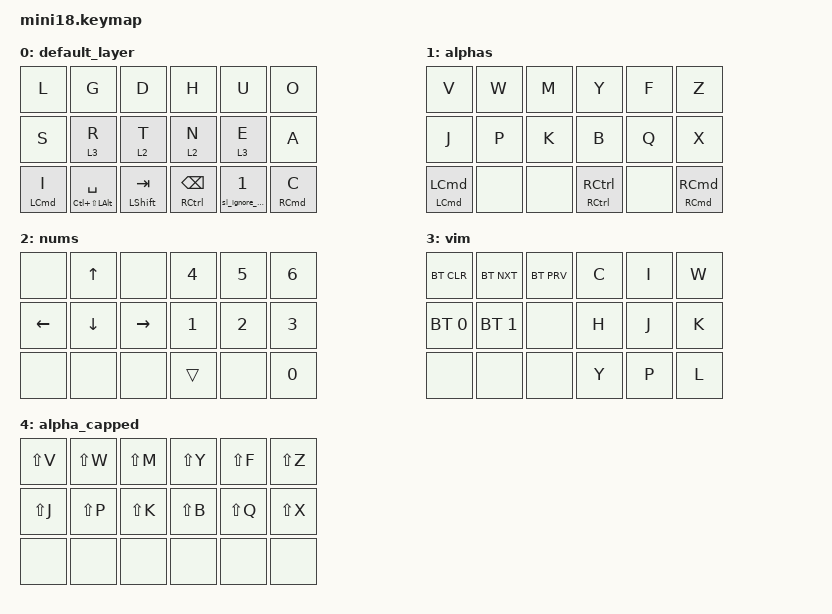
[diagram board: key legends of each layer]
//  _   _  ____   _____ _____
// | \ | |/ __ \ / ____/ ____|
// |  \| | |  | | |   | |
// | . ` | |  | | |   | |
// | |\  | |__| | |___| |____
// |_| \_|\____/ \_____\_____|

// Matrix: Key Numbers
//  0  1  2     3  4  5
//  6  7  8     9 10 11
// 12 13 14    15 16 17

//Layer O (Home): Alpha & Combo All Symbols
//Layer 1: Alpha
//Layer 2: Arrows & Numeric
//Layer 3: VIM

#include <behaviors.dtsi>
#include <dt-bindings/zmk/keys.h>
#include <dt-bindings/zmk/bt.h>
/ {
    behaviors {
        //Activates Layer 4
        //One shot sticky layer
        //Any key pressed (except mod keys (cmd, shift etc.)) will trigger home layer switch
        sl_caps: sl_caps {
            compatible = "zmk,behavior-sticky-key";
            #binding-cells = <1>;
            bindings = <&mo>;
            release-after-ms = <1000>;
            ignore-modifiers;
        };
        //Activates Layer 1
        //One shot sticky layer
        //Any key pressed (except mod keys (cmd, shift etc.)) will trigger home layer switch
        sl_ignore_mods: sticky_layer_ignore_mods {
            compatible = "zmk,behavior-sticky-key";
            #binding-cells = <1>;
            bindings = <&mo>;
            release-after-ms = <1000>;
            ignore-modifiers;
        };
        //Does not deactivate layer
        //When tapped, next key is Left Command + Key
        //If held Left Command Key
         lcmd_sticky_hold: lcmd_sticky_hold {
            compatible = "zmk,behavior-hold-tap";
            #binding-cells = <2>;
            tapping-term-ms = <200>;
            quick-tap-ms = <0>;
            flavor = "tap-preferred";
            bindings = <&kp>, <&sk>;
        };
        //Does not deactivate layer
        //When tapped, next key is Right Command + Key
        //If held Right Command Key
         rcmd_sticky_hold: rcmd_sticky_hold {
            compatible = "zmk,behavior-hold-tap";
            #binding-cells = <2>;
            tapping-term-ms = <200>;
            quick-tap-ms = <0>;
            flavor = "tap-preferred";
            bindings = <&kp>, <&sk>;
        };
        //Does not deactivate layer
        //When tapped, next key is Right Control + Key
        //If held Right Control Key
         rcntrl_sticky_hold: rcntrl_sticky_hold {
            compatible = "zmk,behavior-hold-tap";
            #binding-cells = <2>;
            tapping-term-ms = <200>;
            quick-tap-ms = <0>;
            flavor = "tap-preferred";
            bindings = <&kp>, <&sk>;
        };
    };
    combos {
        compatible = "zmk,combos";
// ********************************* //
// Function Combos                   //
// ********************************* //
    combo_caps_layer {
        timeout-ms = <50>;
        key-positions = <16 4>;
        bindings = <&sl_caps 4>;
        };
    //Next  Key on Layer 0 is Shifted
    //Initiated on Layer 0
    combo_layer_0_shift_next {
        timeout-ms = <50>;
        key-positions = <13 1>;
        bindings = <&sk LSHFT>;
        layers = <0>;
        };
   //Initiated on Layer 1
   //Output: Repeat Last Key
    combo_repeat_last_key {
        timeout-ms = <50>;
        key-positions = <16 17>;
        bindings = <&key_repeat>;
        };
   //Output: Enter
    combo_enter {
        timeout-ms = <50>;
        key-positions = <13 16>;
        bindings = <&kp ENTER>;
        layers = <0>;
        };
   //Output: Escape
    combo_esc {
        timeout-ms = <50>;
        key-positions = <4 5>;
        bindings = <&kp ESCAPE>;
        layers = <0>;
        };

// ********************************* //
// Core Symbols                      //
// ********************************* //

   //Output: "("
    combo_left_parenthesis {
        timeout-ms = <50>;
        key-positions = <8 9>;
        bindings = <&kp LPAR>;
        layers = <0>;
    };
   //Output: ")"
    combo_right_parenthesis {
        timeout-ms = <50>;
        key-positions = <2 3>;
        bindings = <&kp RPAR>;
        layers = <0>;
    };
   //Output: "{"
    combo_left_brace {
        timeout-ms = <50>;
        key-positions = <7 10>;
        bindings = <&kp LBRC>;
        layers = <0>;
    };
   //Output: "}"
    combo_right_brace {
        timeout-ms = <50>;
        key-positions = <1 4>;
        bindings = <&kp RBRC>;
        layers = <0>;
    };
   //Output: "["
    combo_left_bracket {
        timeout-ms = <50>;
        key-positions = <6 11>;
        bindings = <&kp LBKT>;
        layers = <0>;
    };
   //Output: "]"
    combo_right_bracket {
        timeout-ms = <50>;
        key-positions = <0 5>;
        bindings = <&kp RBKT>;
        layers = <0>;
    };
   //Output: "<"
    combo_less_than {
        timeout-ms = <50>;
        key-positions = <12 6>;
        bindings = <&kp LT>;
        layers = <0>;
    };
   //Output: ">"
    combo_greater_than {
        timeout-ms = <50>;
        key-positions = <11 17>;
        bindings = <&kp GT>;
        layers = <0>;
    };
   //Output: ","
    combo_comma {
        timeout-ms = <50>;
        key-positions = <3 5>;
        bindings = <&kp COMMA>;
        layers = <0>;
        };
   //Output: ":"
    combo_colon {
        timeout-ms = <50>;
        key-positions = <3 4>;
        bindings = <&kp COLON>;
        layers = <0>;
        };
   //Output: ";"
    combo_semi_colon {
        timeout-ms = <50>;
        key-positions = <9 10>;
        bindings = <&kp SEMICOLON>;
        layers = <0>;
        };
   //Output: "."
    combo_period {
        timeout-ms = <50>;
        key-positions = <10 11>;
        bindings = <&kp DOT>;
        layers = <0>;
        };
   //Output: "/"
    combo_slash {
        timeout-ms = <50>;
        key-positions = <9 11>;
        bindings = <&kp FSLH>;
        layers = <0>;
        };
   //Output: "$"
    combo_dollar {
        timeout-ms = <50>;
        key-positions = <4 11>;
        bindings = <&kp DLLR>;
        layers = <0>;
    };
   //Output: "%"
    combo_percent {
        timeout-ms = <50>;
        key-positions = <4 9>;
        bindings = <&kp PRCNT>;
        layers = <0>;
    };
   //Output: " ' "
    combo_single_quote {
        timeout-ms = <50>;
        key-positions = <1 2>;
        bindings = <&kp APOS>;
        layers = <0>;
    };
   //Output: ' " '
    combo_double_quotes {
        timeout-ms = <50>;
        key-positions = <0 1>;
        bindings = <&kp DQT>;
        layers = <0>;
    };
   //Output: " ` "
    combo_grave {
        timeout-ms = <50>;
        key-positions = <0 2>;
        bindings = <&kp GRAVE>;
        layers = <0>;
    };
   //Output: "?"
    combo_question {
        timeout-ms = <50>;
        key-positions = <6 8>;
        bindings = <&kp QMARK>;
        layers = <0>;
    };
   //Output: "!"
    combo_exclamation {
        timeout-ms = <50>;
        key-positions = <6 7>;
        bindings = <&kp EXCL>;
        layers = <0>;
    };
   //Output: "#"
    combo_hash {
        timeout-ms = <50>;
        key-positions = <7 8>;
        bindings = <&kp HASH>;
        layers = <0>;
    };
   //Output: "|"
    combo_pipe {
        timeout-ms = <50>;
        key-positions = <1 6>;
        bindings = <&kp PIPE>;
        layers = <0>;
    };
   //Output: "&"
    combo_ampersand {
        timeout-ms = <50>;
        key-positions = <1 8>;
        bindings = <&kp AMPS>;
        layers = <0>;
    };

// ********************************* //
// Non-Core                          //
// ********************************* //

   //Output: "~"
    combo_tilde {
        timeout-ms = <50>;
        key-positions = <2 9>;
        bindings = <&kp TILDE>;
        layers = <0>;
    };
   //Output: "_"
    combo_underscore {
        timeout-ms = <50>;
        key-positions = <3 8>;
        bindings = <&kp UNDER>;
        layers = <0>;
    };
   //Output: "="
    combo_equal {
        timeout-ms = <50>;
        key-positions = <1 10>;
        bindings = <&kp EQUAL>;
        layers = <0>;
    };
   //Output: "+"
    combo_plus {
        timeout-ms = <50>;
        key-positions = <7 4>;
        bindings = <&kp PLUS>;
        layers = <0>;
    };
   //Output: "*"
    combo_asterisk {
        timeout-ms = <50>;
        key-positions = <11 0>;
        bindings = <&kp ASTRK>;
        layers = <0>;
    };
   //Output: "-"
    combo_minus {
        timeout-ms = <50>;
        key-positions = <6 5>;
        bindings = <&kp MINUS>;
        layers = <0>;
    };
   //Output: "@"
    combo_at {
        timeout-ms = <50>;
        key-positions = <9 5>;
        bindings = <&kp AT>;
        layers = <0>;
    };
   //Output: "\"
    combo_backslash {
        timeout-ms = <50>;
        key-positions = <3 11>;
        bindings = <&kp BSLH>;
        layers = <0>;
    };
   //Output: "^"
    combo_caret {
        timeout-ms = <50>;
        key-positions = <6 2>;
        bindings = <&kp CARET>;
        layers = <0>;
    };
   //Output: "7"
    combo_num_seven {
        timeout-ms = <50>;
        key-positions = <3 4>;
        bindings = <&kp N7>;
        layers = <2>;
        };
   //Output: "8"
    combo_num_eight {
        timeout-ms = <50>;
        key-positions = <4 5>;
        bindings = <&kp N8>;
        layers = <2>;
        };
   //Output: "9"
    combo_num_nine {
        timeout-ms = <50>;
        key-positions = <9 10>;
        bindings = <&kp N9>;
        layers = <2>;
        };
    };

    keymap {
        compatible = "zmk,keymap";
        default_layer { // L0
// ---------------------------------------------- //    // ---------------------------------------------- //
// |      L      |       G       |      D       | //    // |      H      |        U       |      O      | //
// ---------------------------------------------- //    // ---------------------------------------------- //
// |      S      |     R + L3    |    T + L2    | //    // |   N + L2    |     E + L3     |      A      | //
// ---------------------------------------------- //    // ---------------------------------------------- //
// |   I + CMD   |  SPACE + MEH  |  Tab + Shift | //    // | BCK + CNTRL |       L1       |   C + CMD   | //
// ---------------------------------------------- //    // ---------------------------------------------- //
            bindings = <
&kp L        &kp G                    &kp D              &kp H                &kp U               &kp O
&kp S        &lt 3 R                  &lt 2 T            &lt 2 N              &lt 3 E             &kp A
&mt LCMD I   &mt LC(LS(LALT)) SPACE   &mt LSHIFT TAB     &mt RCTRL BACKSPACE  &sl_ignore_mods 1   &mt RCMD C
            >;
        };
        alphas { // L1
// ---------------------------------------------- //    // ---------------------------------------------- //
// |      V      |       W       |      M       | //    // |      Y      |        F       |      Z      | //
// ---------------------------------------------- //    // ---------------------------------------------- //
// |      J      |       P       |      K       | //    // |      B      |        Q       |      X      | //
// ---------------------------------------------- //    // ---------------------------------------------- //
// |   COMMAND   |     NONE      |    SHIFT     | //    // |    NONE     |      NONE      |   COMMAND   | //
// ---------------------------------------------- //    // ---------------------------------------------- //
            bindings = <
&kp V                        &kp W  &kp M                  &kp Y   &kp F   &kp Z
&kp J                        &kp P  &kp K                  &kp B   &kp Q   &kp X
&lcmd_sticky_hold LCMD LCMD  &none  &none                  &rcntrl_sticky_hold RIGHT_CONTROL RIGHT_CONTROL  &none  &rcmd_sticky_hold RCMD RCMD
            >;
        };
        nums { // L2
// ---------------------------------------------- //    // ---------------------------------------------- //
// |             |       UP       |             | //    // |      4   (7)|(7)     5    (8)|(8)   6      | //
// ---------------------------------------------- //    // ---------------------------------------------- //
// |     LEFT    |      DOWN      |    RIGHT    | //    // |      1   (9)|(9)     2       |      3      | //
// ---------------------------------------------- //    // ---------------------------------------------- //
// |             |                |             | //    // |             |                |      0       | //
// ---------------------------------------------- //    // ---------------------------------------------- //
            bindings = <
           &none       &kp UP       &none                              &kp N4   &kp N5   &kp N6
           &kp LEFT    &kp DOWN     &kp RIGHT                          &kp N1   &kp N2   &kp N3
           &none       &none        &none                              &trans   &none    &kp N0
            >;
        };
        vim { // L3
// ---------------------------------------------- //    // ---------------------------------------------- //
// |             |                |             | //    // |      C      |        I       |      W      | //
// ---------------------------------------------- //    // ---------------------------------------------- //
// |             |                |             | //    // |      H      |        J       |      K      | //
// ---------------------------------------------- //    // ---------------------------------------------- //
// |             |                |             | //    // |      Y      |        P       |      L      | //
// ---------------------------------------------- //    // ---------------------------------------------- //
            bindings = <
           &bt BT_CLR     &bt BT_NXT    &bt BT_PRV                         &kp C   &kp I   &kp W
           &bt BT_SEL 0   &bt BT_SEL 1  &none                              &kp H   &kp J   &kp K
           &none          &none         &none                              &kp Y   &kp P    &kp L
            >;
        };
        alpha_capped { // L4
// ---------------------------------------------- //    // ---------------------------------------------- //
// |      V      |       W       |      M       | //    // |      Y      |        F       |      Z      | //
// ---------------------------------------------- //    // ---------------------------------------------- //
// |      J      |       P       |      K       | //    // |      B      |        Q       |      X      | //
// ---------------------------------------------- //    // ---------------------------------------------- //
// |             |               |              | //    // |             |                |             | //
// ---------------------------------------------- //    // ---------------------------------------------- //
            bindings = <
            &kp LS(V)  &kp LS(W)  &kp LS(M)                &kp LS(Y)  &kp LS(F)  &kp LS(Z)
            &kp LS(J)  &kp LS(P)  &kp LS(K)                &kp LS(B)  &kp LS(Q)  &kp LS(X)
            &none  &none  &none                            &none   &none   &none
            >;
        };
    };
};
